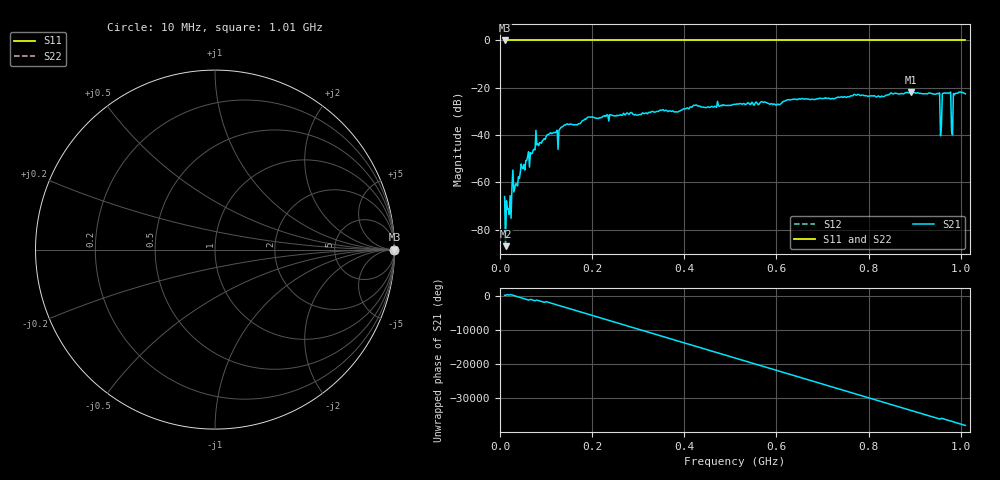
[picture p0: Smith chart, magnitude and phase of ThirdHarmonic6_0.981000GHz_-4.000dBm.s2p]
! 8/16/2025 7:36:01 AM
! C:\ANRITSUVNA\TEMP\TEMP.S2P
! CHANNEL.1
! TR.MEASUREMENT
! RAW.DATA
! RF.CORRECTION.OFF
! AVERAGING.OFF
! IF.BANDWIDTH: 5KHZ
! SWEEPTYPE:  FREQ.SWEEP(Linear)
! Reference Plane Port Info
! PORT:  PORT1  PORT2
! DISTANCE:  0  m  0  m
! TIME:  0  s  0  s
! PHASE.OFFSET:  0  deg.  0  deg.
! LOSS:  0  dB  0  dB
! REF.LOSS:  0  dB  0  dB
! REF.FREQ:  0  Hz  0  Hz
! Power Info
! POWER:  -20  dBm  -20  dBm
! EFF.POWER:  -20  dBm  -20  dBm
! SOURCE.ATTEN:  0  dB  0  dB
! TEST.ATTEN:  0  dB  0  dB
# GHZ S RI R 50.0
! FREQ.GHZ  S11RE  S11IM  S21RE  S21IM  S12RE  S12IM  S22RE  S22IM
!; PortSelection: Port_12
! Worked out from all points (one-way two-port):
!   501 points, 10 MHz to 1.01 GHz, reference 50 ohm
!   highest |S21| = -21.78 dB at 892 MHz (marker M1); lowest = -87.0 dB at 12 MHz (marker M2)
!   lowest |S11| = 0.0 dB at 10 MHz (marker M3)
!   |S11| at or under -10 dB: nowhere
!   |S22| runs from 0.0 to 0.0 dB; largest |S21 - S12| = 1.1
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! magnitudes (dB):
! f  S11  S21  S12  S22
! 10 MHz  0.0  -66.0  0.0  0.0
! 12 MHz  0.0  -87.0  0.0  0.0
! 20 MHz  0.0  -73.6  0.0  0.0
! 30 MHz  0.0  -64.1  0.0  0.0
! 34 MHz  0.0  -60.7  0.0  0.0
! 48 MHz  0.0  -53.8  0.0  0.0
! 82 MHz  0.0  -43.7  0.0  0.0
! 178 MHz  0.0  -34.1  0.0  0.0
! 344 MHz  0.0  -30.0  0.0  0.0
! 510 MHz  0.0  -27.0  0.0  0.0
! 678 MHz  0.0  -24.9  0.0  0.0
! 844 MHz  0.0  -22.9  0.0  0.0
! 892 MHz  0.0  -21.8  0.0  0.0
! 950 MHz  0.0  -22.4  0.0  0.0
! 956 MHz  0.0  -40.3  0.0  0.0
! 960 MHz  0.0  -22.5  0.0  0.0
! 964 MHz  0.0  -22.2  0.0  0.0
! 974 MHz  0.0  -22.4  0.0  0.0
! 978 MHz  0.0  -21.8  0.0  0.0
! 984 MHz  0.0  -22.4  0.0  0.0
! 988 MHz  0.0  -22.4  0.0  0.0
! 1.01 GHz  0.0  -22.6  0.0  0.0
